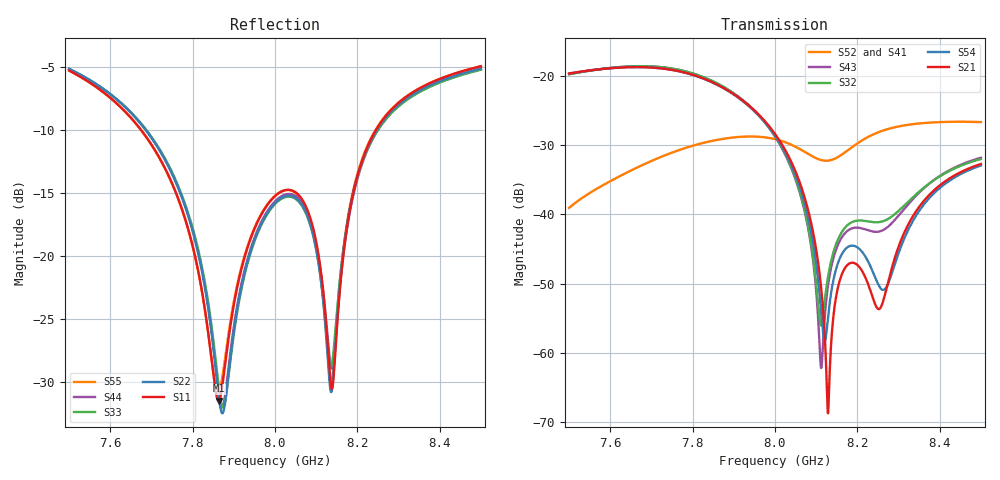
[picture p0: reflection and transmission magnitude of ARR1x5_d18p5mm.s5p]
! Touchstone file exported from HFSS 2025.1.0
!  File:  C:/Users/user/Documents/Ansoft/TFG_UWB-MIMO-Array.aedt
!  Generated:  08:09:01 PM Nov 16, 2026
!  Design:  ARR1x5_US3_PS4_2_1_dparam
!  Project:  TFG_UWB-MIMO-Array
!  Setup:  Setup_ch9
!  Solution:  Sweep_7p5_8p5
! Variables:
!  arr_d = 18.5mm
!  board_m = 13mm
!  board_x = 100mm
!  board_y = 26mm
!  cu_t = 0.035mm
!  line_w = 3.92mm
!  pad_xy = 22mm
!  pad_zn = 25mm
!  pad_zp = 33mm
!  par_L = 7.46mm
!  par_W = 10mm
!  par_yc = 0.75mm
!  par_z = 1.035mm
!  patch_L = 6.222mm
!  patch_W = 11.421266mm
!  sub_h = 2.07mm
!  tr_l = 6.6mm
!  tr_w = 0.8mm
!  u_Lu = 2.65mm
!  u_Wu = 4.4mm
!  u_t = 0.8mm
!  u_y0 = -0.7mm
# GHz S MA R 50.000000
! Terminal data exported
! Port[1] = P1
! Port[2] = P2
! Port[3] = P3
! Port[4] = P4
! Port[5] = P5
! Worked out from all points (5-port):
!   1001 points, 7.5 GHz to 8.5 GHz, reference 50 ohm
!   strongest paths, dB at 7.5 GHz, 7.75 GHz, 8 GHz, 8.25 GHz, 8.5 GHz:
!     S21: -19.7, -19.1, -28.4, -53.6, -32.7
!     S54: -19.7, -19.2, -28.6, -50.0, -32.9
!     S32: -19.8, -19.0, -28.7, -41.1, -32.0
!     S43: -19.7, -19.0, -28.8, -42.5, -31.8
!     S52: -39.1, -31.1, -29.1, -28.2, -26.7
!     S41: -39.0, -31.1, -29.3, -28.4, -26.9
!   lowest |S11| = -31.5 dB at 7.863 GHz (marker M1), VSWR 1.05, Z = 47.8 + j1.36 ohm
!   |S11| at or under -10 dB: 7.676 GHz to 8.245 GHz (569.3 MHz wide, 7.15 % of centre)
